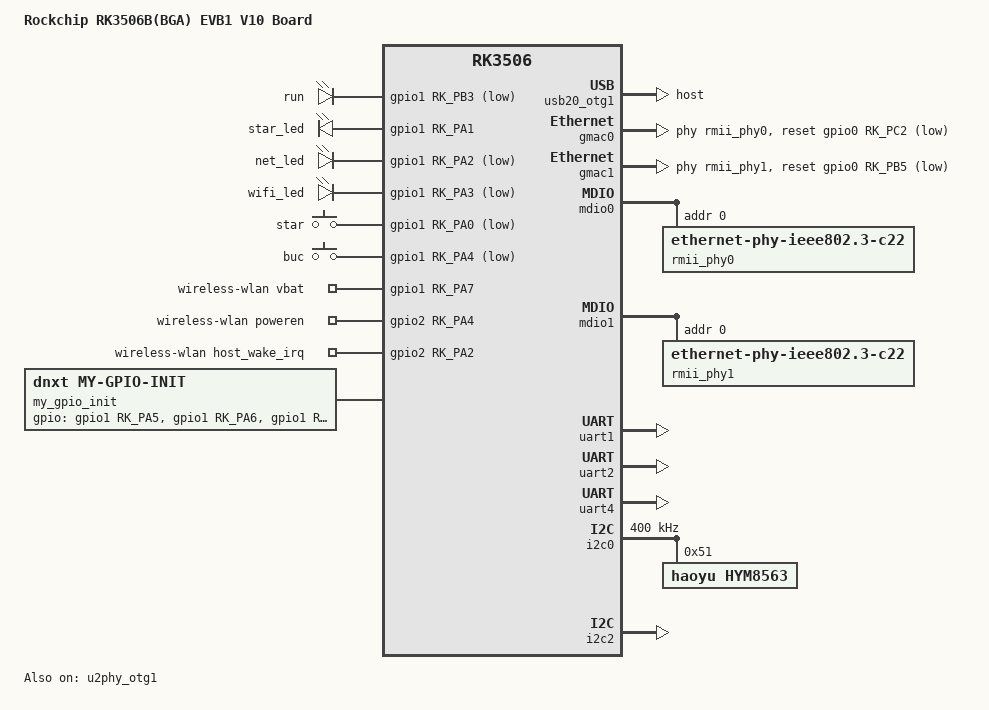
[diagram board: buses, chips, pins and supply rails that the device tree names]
// SPDX-License-Identifier: (GPL-2.0+ OR MIT)
/*
 * Copyright (c) 2024 Rockchip Electronics Co., Ltd.
 */

/dts-v1/;

#include "rk3506-my-base-emmc.dtsi"

/ {
	model = "Rockchip RK3506B(BGA) EVB1 V10 Board";
	compatible = "rockchip,rk3506b-evb1-v10", "rockchip,rk3506";

	leds {
		compatible = "gpio-leds";
		status = "okay";

		heart_led: heart_led {
			label = "run";
			gpios = <&gpio1 RK_PB3 GPIO_ACTIVE_LOW>;
			linux,default-trigger = "heartbeat";
			default-state = "off";
		};

		star_led: star_led {
			label = "star_led";
			gpios = <&gpio1 RK_PA1 GPIO_ACTIVE_HIGH>;
			linux,default-trigger = "none";
			default-state = "off";
		};

		net_led: net_led {
			label = "net_led";
			gpios = <&gpio1 RK_PA2 GPIO_ACTIVE_LOW>;
			linux,default-trigger = "none";
			default-state = "off";
		};

		wifi_led: wifi_led {
			label = "wifi_led";
			gpios = <&gpio1 RK_PA3 GPIO_ACTIVE_LOW>;
			linux,default-trigger = "none";
			default-state = "off";
		};
	};

	gpio_keys: gpio-keys {
		compatible = "gpio-keys";
		pinctrl-names = "default";
		pinctrl-0 = <&btn_keys>;
		status = "okay";

		star_key: star-key {
			label = "star";
			gpios = <&gpio1 RK_PA0 GPIO_ACTIVE_LOW>;
			linux,code = <KEY_1>;
			debounce-interval = <20>;
			wakeup-source;
		};

		buc_key: buc-key {
			label = "buc";
			gpios = <&gpio1 RK_PA4 GPIO_ACTIVE_LOW>;
			linux,code = <KEY_2>;
			debounce-interval = <20>;
			wakeup-source;
		};
	};

	wireless-wlan {
		compatible = "wlan-platdata";
		rockchip,grf = <&grf>;
		pinctrl-names = "default";
		pinctrl-0 = <&wifi_wake_host>;
		WIFI,vbat_gpio = <&gpio1 RK_PA7 GPIO_ACTIVE_HIGH>;
		WIFI,poweren_gpio = <&gpio2 RK_PA4 GPIO_ACTIVE_HIGH>;
		WIFI,host_wake_irq = <&gpio2 RK_PA2 GPIO_ACTIVE_HIGH>;
		status = "okay";
	};

	my_gpio_init: my-gpio-init {
		compatible = "dnxt,my-gpio-init";
		status = "okay";

		init-delay-ms = <0>;

		gpios = <
			&gpio1 RK_PA5 GPIO_ACTIVE_HIGH	// 0 BUC_EN
			&gpio1 RK_PA6 GPIO_ACTIVE_HIGH	// 1 EN_LED1
			&gpio1 RK_PB0 GPIO_ACTIVE_HIGH	// 2 EN_LED2
			&gpio1 RK_PB5 GPIO_ACTIVE_HIGH	// 3 USB1_NRST
			&gpio1 RK_PB6 GPIO_ACTIVE_HIGH	// 4 LNB_EN
			&gpio1 RK_PC3 GPIO_ACTIVE_HIGH	// 5 LNB_VCC
			&gpio1 RK_PC4 GPIO_ACTIVE_HIGH	// 6 EN_FS
			&gpio1 RK_PC7 GPIO_ACTIVE_HIGH	// 7 EN_MTR
			&gpio0 RK_PB0 GPIO_ACTIVE_HIGH	// 8 MTR_BOOT0
			&gpio0 RK_PB1 GPIO_ACTIVE_HIGH	// 9 VOICE_EN_H
			&gpio0 RK_PC3 GPIO_ACTIVE_HIGH	// 10 NAVI_EN_H
			&gpio2 RK_PA3 GPIO_ACTIVE_HIGH	// 11 HSOT_WAKE_WIFI
			&gpio2 RK_PA5 GPIO_ACTIVE_HIGH	// 12 V24V_EN_H
			&gpio2 RK_PA1 GPIO_ACTIVE_HIGH	// 13 PWROFF_H
			&gpio2 RK_PA0 GPIO_ACTIVE_HIGH	// 14 SW_EN_H
		>;

		gpio-names = "buc_en",
					"en_led1",
					"en_led2",
					"usb1_nrst",
					"lnb_en",
					"lnb_vcc",
					"en_fs",
					"en_mtr",
					"mtr_boot0",
					"voice_en_h",
					"navi_en_h",
					"hsot_wake_wifi",
					"v24v_en_h",
					"pwroff_h",
					"sw_en_h";

		//                  0 1 2 3 4 5 6 7 8 9 10 11 12 13 14
		gpio-init-states = <0 0 0 1 0 0 1 1 0 1 1  0  1  0  1>;

		// format: <gpio_index delay_ms>
		gpio-delays = <
			0   10
			4   20
		>;

		// format: <gpio_index delay_ms target_state>
		gpio-state-delays = <
			0   10	1
			4   10	1
		>;
	};
};

&pinctrl {
	gpio-btns {
		btn_keys: btn-keys {
			rockchip,pins = <1 RK_PA0 RK_FUNC_GPIO &pcfg_pull_none>,
							<1 RK_PA4 RK_FUNC_GPIO &pcfg_pull_none>;
		};
	};

	wireless-wlan {
		wifi_wake_host: wifi-wake-host {
			rockchip,pins = <1 RK_PA7 RK_FUNC_GPIO &pcfg_pull_none>,
							<2 RK_PA4 RK_FUNC_GPIO &pcfg_pull_none>,
							<2 RK_PA2 RK_FUNC_GPIO &pcfg_pull_up>;
		};
	};
};

&u2phy_otg1 {
	status = "okay";
};

&usb20_otg1 {
	dr_mode = "host";
	status = "okay";
};

&gmac0 {
	clock_in_out = "input";

	snps,reset-gpio = <&gpio0 RK_PC2 GPIO_ACTIVE_LOW>;
	snps,reset-active-low;
	snps,reset-delays-us = <0 20000 100000>;

	pinctrl-names = "default";
	pinctrl-0 = <&eth_rmii0_miim_pins
				&eth_rmii0_tx_bus2_pins
				&eth_rmii0_rx_bus2_pins
				&eth_rmii0_clk_pins>;

	phy-handle = <&rmii_phy0>;
	status = "okay";
};

&gmac1 {
	clock_in_out = "input";

	snps,reset-gpio = <&gpio0 RK_PB5 GPIO_ACTIVE_LOW>;
	snps,reset-active-low;
	snps,reset-delays-us = <0 20000 100000>;

	pinctrl-names = "default";
	pinctrl-0 = <&eth_rmii1_miim_pins
				&eth_rmii1_tx_bus2_pins
				&eth_rmii1_rx_bus2_pins
				&eth_rmii1_clk_pins>;

	phy-handle = <&rmii_phy1>;
	status = "okay";
};

&mdio0 {
	rmii_phy0: phy@0 {
		compatible = "ethernet-phy-ieee802.3-c22";
		reg = <0x0>;
		clocks = <&cru CLK_MAC_OUT>;
		assigned-clocks = <&cru CLK_MAC_OUT>;
		assigned-clock-rates = <25000000>;
	};
};

&mdio1 {
	rmii_phy1: phy@0 {
		compatible = "ethernet-phy-ieee802.3-c22";
		reg = <0x0>;
		clocks = <&cru CLK_MAC_OUT>;
		assigned-clocks = <&cru CLK_MAC_OUT>;
		assigned-clock-rates = <25000000>;
	};
};

&uart1 {
	pinctrl-names = "default";
	pinctrl-0 = <&rm_io16_uart1_rx &rm_io17_uart1_tx>;
	dma-names = "tx", "rx";
	status = "okay";
};

&uart2 {
	pinctrl-names = "default";
	pinctrl-0 = <&rm_io0_uart2_rx &rm_io2_uart2_tx>;
	dma-names = "tx", "rx";
	status = "okay";
};

&uart4 {
	pinctrl-names = "default";
	pinctrl-0 = <&rm_io30_uart4_rx &rm_io31_uart4_tx>;
	dma-names = "tx", "rx";
	status = "okay";
};

&i2c0 {
	clock-frequency = <400000>;
	status = "okay";
	pinctrl-names = "default";
	pinctrl-0 = <&rm_io25_i2c0_scl &rm_io24_i2c0_sda>;

	hym8563: hym8563@51 {
			compatible = "haoyu,hym8563";
			reg = <0x51>;
			// #clock-cells = <0>;
			// clock-frequency = <32768>;
			// clock-output-names = "hym8563";
			// pinctrl-names = "default";
			// pinctrl-0 = <&hym8563_int>;
			// interrupt-parent = <&gpio0>;
			// interrupts = <RK_PC0 IRQ_TYPE_LEVEL_LOW>;

			wakeup-source;
	};
};

&i2c2 {
	pinctrl-names = "default";
	pinctrl-0 = <&rm_io4_i2c2_scl &rm_io5_i2c2_sda>;
	status = "okay";
};

&ramoops {
	reg = <0x1d3000 0x2d000>;
	status = "okay";
};
